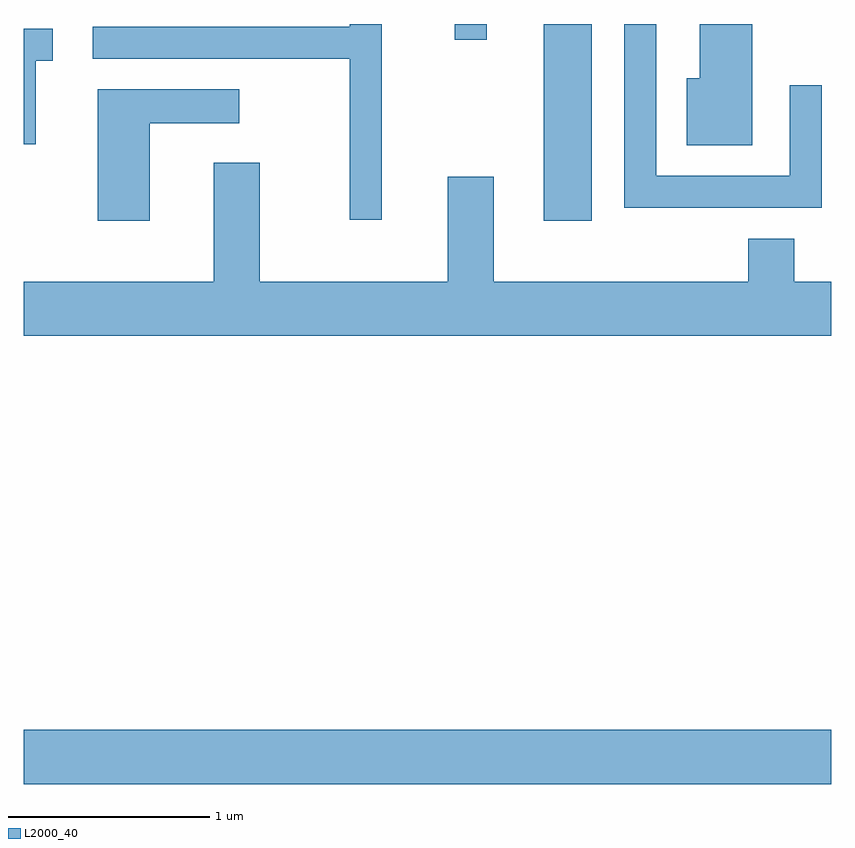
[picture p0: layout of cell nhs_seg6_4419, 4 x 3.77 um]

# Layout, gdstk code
import gdstk
lib = gdstk.Library(unit=1e-6, precision=1e-09)
def R(c, l, rs):  # rectangles x0, y0, x1, y1
    for r in rs: c.add(gdstk.rectangle(r[:2], r[2:], *l))
def P(c, l, *ps):  # polygons
    for p in ps: c.add(gdstk.Polygon(p, *l))
L2000_40 = (2000, 40)

nhs_seg6_4419 = lib.new_cell('nhs_seg6_4419')
R(nhs_seg6_4419, L2000_40, [(319.611,1634.396,323.611,1634.664), (322.186,1637.186,322.424,1638.162), (321.746,1638.083,321.904,1638.162)])
P(nhs_seg6_4419, L2000_40, [(321.384,1638.162),(321.226,1638.162),(321.226,1638.149),(319.953,1638.149),(319.953,1637.991),(321.226,1637.991),(321.226,1637.193),(321.384,1637.193)],
  [(323.219,1638.162),(322.961,1638.162),(322.961,1637.894),(322.896,1637.894),(322.896,1637.561),(323.219,1637.561)],
  [(323.564,1637.858),(323.406,1637.858),(323.406,1637.409),(322.744,1637.409),(322.744,1638.162),(322.586,1638.162),(322.586,1637.251),(323.564,1637.251)],
  [(319.669,1637.981),(319.753,1637.981),(319.753,1638.139),(319.611,1638.139),(319.611,1637.566),(319.669,1637.566)],
  [(320.234,1637.671),(320.678,1637.671),(320.678,1637.839),(319.976,1637.839),(319.976,1637.186),(320.234,1637.186)],
  [(321.711,1637.404),(321.711,1636.884),(320.779,1636.884),(320.779,1637.474),(320.551,1637.474),(320.551,1636.884),(319.611,1636.884),(319.611,1636.616),(323.611,1636.616),(323.611,1636.884),(323.429,1636.884),(323.429,1637.099),(323.201,1637.099),(323.201,1636.884),(321.939,1636.884),(321.939,1637.404)])

lib.write_gds('nhs_seg6_4419.gds')
